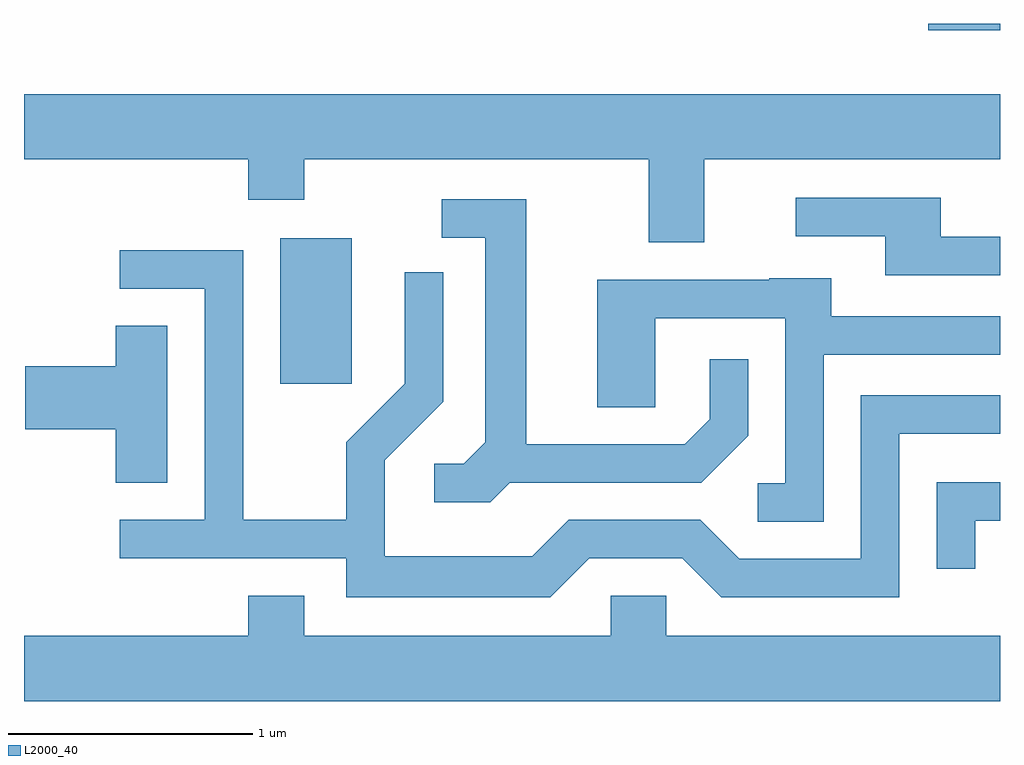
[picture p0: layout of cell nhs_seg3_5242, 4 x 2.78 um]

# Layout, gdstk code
import gdstk
lib = gdstk.Library(unit=1e-6, precision=1e-09)
def R(c, l, rs):  # rectangles x0, y0, x1, y1
    for r in rs: c.add(gdstk.rectangle(r[:2], r[2:], *l))
def P(c, l, *ps):  # polygons
    for p in ps: c.add(gdstk.Polygon(p, *l))
L2000_40 = (2000, 40)

nhs_seg3_5242 = lib.new_cell('nhs_seg3_5242')
R(nhs_seg3_5242, L2000_40, [(340.661,1138.416,340.954,1139.014), (343.316,1139.866,343.611,1139.892)])
P(nhs_seg3_5242, L2000_40, [(342.399,1139.336),(343.611,1139.336),(343.611,1139.604),(339.611,1139.604),(339.611,1139.336),(340.531,1139.336),(340.531,1139.171),(340.759,1139.171),(340.759,1139.336),(342.171,1139.336),(342.171,1138.996),(342.399,1138.996)],
  [(343.611,1139.019),(343.369,1139.019),(343.369,1139.179),(342.773,1139.179),(342.773,1139.021),(343.141,1139.021),(343.141,1138.861),(343.611,1138.861)],
  [(341.602,1138.011),(342.387,1138.011),(342.579,1138.204),(342.579,1138.518),(342.421,1138.518),(342.421,1138.272),(342.319,1138.169),(341.669,1138.169),(341.669,1139.174),(341.323,1139.174),(341.323,1139.016),(341.501,1139.016),(341.501,1138.177),(341.414,1138.089),(341.293,1138.089),(341.293,1137.931),(341.522,1137.931)],
  [(341.927,1137.701),(342.309,1137.701),(342.469,1137.541),(343.199,1137.541),(343.199,1138.211),(343.611,1138.211),(343.611,1138.369),(343.041,1138.369),(343.041,1137.699),(342.542,1137.699),(342.382,1137.859),(341.844,1137.859),(341.694,1137.709),(341.089,1137.709),(341.089,1138.104),(341.329,1138.344),(341.329,1138.873),(341.171,1138.873),(341.171,1138.417),(340.931,1138.177),(340.931,1137.859),(340.509,1137.859),(340.509,1138.964),(340.003,1138.964),(340.003,1138.806),(340.351,1138.806),(340.351,1137.859),(340.003,1137.859),(340.003,1137.701),(340.931,1137.701),(340.931,1137.541),(341.767,1137.541)],
  [(342.889,1138.536),(343.611,1138.536),(343.611,1138.694),(342.919,1138.694),(342.919,1138.849),(342.665,1138.849),(342.665,1138.844),(341.961,1138.844),(341.961,1138.321),(342.199,1138.321),(342.199,1138.686),(342.731,1138.686),(342.731,1138.009),(342.618,1138.009),(342.618,1137.851),(342.889,1137.851)],
  [(340.199,1138.654),(339.986,1138.654),(339.986,1138.489),(339.616,1138.489),(339.616,1138.231),(339.986,1138.231),(339.986,1138.011),(340.199,1138.011)],
  [(343.509,1137.856),(343.611,1137.856),(343.611,1138.014),(343.351,1138.014),(343.351,1137.658),(343.509,1137.658)],
  [(343.611,1137.384),(342.244,1137.384),(342.244,1137.549),(342.016,1137.549),(342.016,1137.384),(340.759,1137.384),(340.759,1137.549),(340.531,1137.549),(340.531,1137.384),(339.611,1137.384),(339.611,1137.116),(343.611,1137.116)])

lib.write_gds('nhs_seg3_5242.gds')
